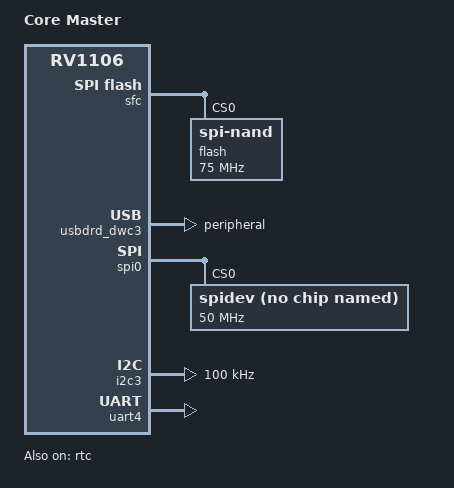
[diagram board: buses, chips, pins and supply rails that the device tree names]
// SPDX-License-Identifier: (GPL-2.0+ OR MIT)
/*
 * Core Master — SPI NAND IPC, no external WiFi (same base as Panghu V1).
 */

/dts-v1/;

#include "rv1106.dtsi"
#include "rv1106-evb.dtsi"
#include "rv1106-core-master-ipc.dtsi"

/ {
	model = "Core Master";
	compatible = "rockchip,rv1103g-38x38-ipc-v10", "rockchip,rv1106";
};

/**********FLASH**********/
&sfc {
	status = "okay";
	flash@0 {
		compatible = "spi-nand";
		reg = <0>;
		spi-max-frequency = <75000000>;
		spi-rx-bus-width = <4>;
		spi-tx-bus-width = <1>;
	};

};

/**********ETH**********/
&gmac {
	status = "disabled";
};

/**********USB**********/
&usbdrd_dwc3 {
	status = "okay";
	dr_mode = "peripheral";
};

/**********SPI**********/
&spi0 {
	status = "okay";
	spidev@0 {
		compatible = "rockchip,spidev";
		reg = <0>;
		spi-max-frequency = <50000000>;
	};
};

/**********I2C**********/
/* I2C3_M1 */
&i2c3 {
	status = "okay";
	clock-frequency = <100000>;
};

/* I2C1_M1 */
&i2c1 {
	status = "disabled";
	clock-frequency = <100000>;
};


/**********UART**********/
/* UART3_M1 */
&uart3 {
	status = "disabled";
};

/* UART4_M1 */
&uart4 {
	status = "okay";
};

/**********RTC**********/
&rtc {
	status = "okay";
};
